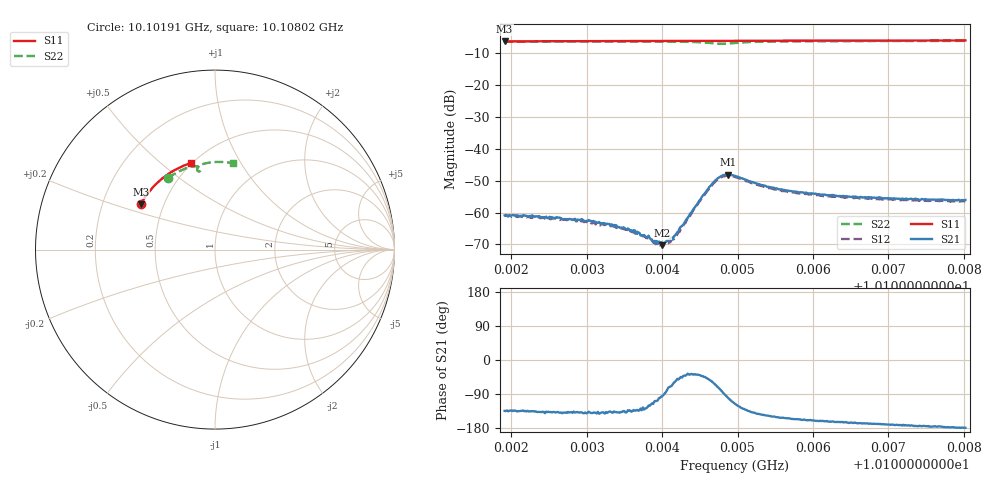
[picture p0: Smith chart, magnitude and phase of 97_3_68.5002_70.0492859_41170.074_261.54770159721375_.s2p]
#  HZ  S  RI  R  50.00
! Rohde & Schwarz Vector Network Analyzer
! Rohde-Schwarz,ZNB20-2Port,1311601062101988,3.16
! Created: UTC 3/20/2024, 5:08:03 PM
! freq[Hz]  re:S11  im:S11  re:S21  im:S21  re:S12  im:S12  re:S22  im:S22
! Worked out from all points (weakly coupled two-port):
!   401 points, 10.10191 GHz to 10.10802 GHz, reference 50 ohm
!   highest |S21| = -48.07 dB at 10.10487 GHz (marker M1); lowest = -70.3 dB at 10.104 GHz (marker M2)
!   lowest |S11| = -6.3 dB at 10.10191 GHz (marker M3), VSWR 2.88, Z = 18.6 + j12.3 ohm
!   |S11| at or under -10 dB: nowhere
!   |S22| runs from -7.1 to -6.2 dB; largest |S21 - S12| = 0.00041
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1.0101911e10  -0.4132 0.2532  -0.00063 -0.000645  -0.000569 -0.000685  -0.2605 0.3994
1.0102629e10  -0.3906 0.2905  -0.000625 -0.000557  -0.000533 -0.000565  -0.221 0.4249
1.0102812e10  -0.3843 0.2997  -0.000592 -0.000508  -0.000522 -0.000559  -0.2106 0.4307
1.0102934e10  -0.38 0.3057  -0.000591 -0.000525  -0.000485 -0.000537  -0.2034 0.4345
1.010327e10  -0.3675 0.3221  -0.00051 -0.000433  -0.000455 -0.000437  -0.183 0.4443
1.0103515e10  -0.3582 0.3335  -0.000415 -0.000364  -0.000345 -0.000411  -0.1677 0.4506
1.0103744e10  -0.3491 0.3439  -0.000254 -0.00036  -0.000232 -0.000353  -0.1525 0.4563
1.010379e10  -0.3471 0.3461  -0.000245 -0.000324  -0.00021 -0.000337  -0.1494 0.4572
1.0103881e10  -0.3434 0.35  -0.000152 -0.000314  -0.000122 -0.000315  -0.1429 0.459
1.0103958e10  -0.3403 0.3535  -6.36e-05 -0.000345  -5.28e-05 -0.000308  -0.1373 0.4606
1.0104004e10  -0.3383 0.3555  -2.74e-05 -0.000304  -4.14e-06 -0.000297  -0.1338 0.4614
1.010408e10  -0.335 0.3589  0.000102 -0.000341  9.77e-05 -0.000313  -0.1282 0.4627
1.0104172e10  -0.3313 0.3628  0.000238 -0.000369  0.000256 -0.00032  -0.1209 0.4637
1.0104508e10  -0.3163 0.377  0.00122 -0.00104  0.00125 -0.000904  -0.0907 0.4597
1.0104676e10  -0.3088 0.3835  0.00148 -0.00254  0.00163 -0.00232  -0.0805 0.4452
1.0104783e10  -0.3039 0.3876  0.000605 -0.00366  0.000893 -0.00345  -0.0862 0.4357
1.0104875e10  -0.2998 0.3913  -0.000688 -0.00389  -0.000318 -0.0038  -0.0955 0.4371
1.0104966e10  -0.2956 0.3948  -0.00162 -0.00339  -0.00126 -0.00337  -0.0993 0.4461
1.0105425e10  -0.2737 0.412  -0.00212 -0.00133  -0.00194 -0.00145  -0.0719 0.4749
1.010599e10  -0.2452 0.431  -0.00186 -0.000696  -0.00172 -0.00083  -0.0315 0.4849
1.0107013e10  -0.1907 0.4604  -0.00162 -0.000283  -0.00155 -0.000427  0.0365 0.4883
1.0108022e10  -0.1336 0.482  -0.00157 -3.13e-05  -0.00147 -0.000163  0.1014 0.4816
